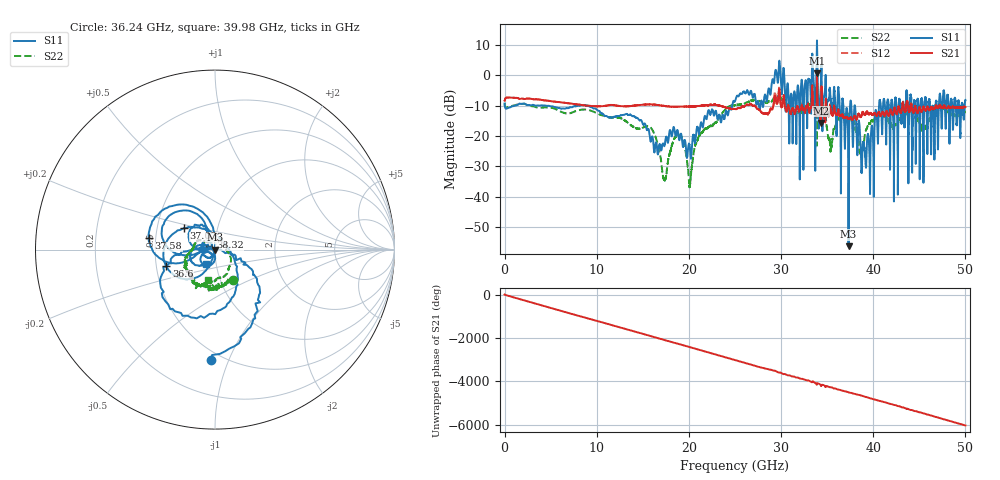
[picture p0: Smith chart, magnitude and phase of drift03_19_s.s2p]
!Created with skrf (http://scikit-rf.org).
# Hz S RI R 50.0
!freq ReS11 ImS11 ReS21 ImS21 ReS12 ImS12 ReS22 ImS22
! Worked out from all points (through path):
!   10001 points, 300 kHz to 50 GHz, reference 50 ohm
!   highest |S21| = 0.61 dB at 33.9 GHz (marker M1); lowest = -15.7 dB at 34.32 GHz (marker M2)
!   group delay of S21, straight-line fit = 335 ps
!   lowest |S11| = -56.3 dB at 37.32 GHz (marker M3), VSWR 1.00, Z = 49.9 - j0.0299 ohm
!   |S11| at or under -10 dB: 4.47 GHz to 7.968 GHz (3.499 GHz wide, 56.3 % of centre); 9.016 GHz to 24.7 GHz (15.68 GHz wide, 93 % of centre); 38.01 GHz to 40.63 GHz (2.613 GHz wide, 6.64 % of centre) (the widest 3 of 67)
!   |S22| runs from -36.9 to -5.9 dB; largest |S21 - S12| = 0.11
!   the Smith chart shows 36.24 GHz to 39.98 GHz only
!   S11 on the Smith chart (normalised r, x): 36.24 GHz: 0.44, -0.86; 36.6 GHz: 0.57, -0.11; 37.03 GHz: 0.69, +0.17; 37.58 GHz: 0.46, +0.07; 38.32 GHz: 0.94, +0.13; 39.98 GHz: 0.90, -0.14
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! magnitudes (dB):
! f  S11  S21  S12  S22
! 300 kHz  -9.3  -8.4  -8.4  -9.3
! 8.335 GHz  -9.9  -9.8  -9.8  -11.3
! 16.67 GHz  -25.6  -9.8  -9.8  -23.5
! 17.37 GHz  -23.0  -10.1  -10.1  -34.6
! 19.05 GHz  -20.1  -10.3  -10.4  -19.9
! 20.11 GHz  -24.3  -10.3  -10.3  -35.8
! 21.19 GHz  -17.7  -10.1  -10.1  -19.6
! 25 GHz  -8.6  -11.1  -11.1  -9.8
! 31.08 GHz  -6.1  -12.7  -12.7  -10.5
! 33.34 GHz  0.2  -7.7  -7.7  -9.5
! 33.9 GHz  11.5  0.6  0.2  -23.2
! 34.32 GHz  -2.8  -15.7  -15.0  -11.3
! 35.34 GHz  -6.0  -10.4  -9.9  -24.1
! 36.24 GHz  -4.2  -11.7  -11.7  -14.2
! 36.6 GHz  -10.9  -13.1  -13.1  -13.5
! 37.03 GHz  -13.6  -13.8  -14.0  -13.7
! 37.32 GHz  -56.3  -14.4  -14.5  -13.4
! 37.58 GHz  -8.5  -13.9  -13.8  -14.5
! 38.32 GHz  -22.7  -13.3  -13.3  -19.4
! 39.98 GHz  -20.7  -13.0  -13.1  -15.3
! 41.67 GHz  -9.8  -13.3  -13.3  -15.1
! 50 GHz  -8.1  -10.5  -10.5  -12.2
